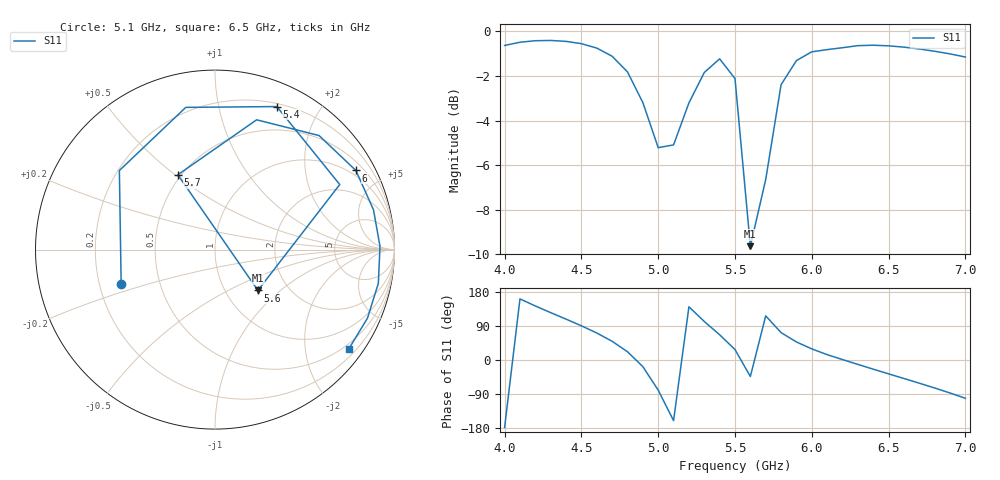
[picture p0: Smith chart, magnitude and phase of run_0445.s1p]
! Touchstone file exported from HFSS 2024.2.0
!  File:  C:/Users/wsak9/Desktop/Sim Fast/Widenad Patch/WP_AI_V1_sweep.aedt
!  Generated:  10:21:25 AM Oct 14, 2026
!  Design:  A1_model
!  Project:  WP_AI_V1_sweep
!  Setup:  Setup1
!  Solution:  Sweep
! Variables:
!  Air_gap = 4.83mm
!  Curve_Amp1 = 3.96
!  Curve_len1 = 1
!  Curve_pos = 10.93mm
!  Extra = 5.39mm
!  H_sub = 0.79mm
!  L_Patch = 17.86mm
!  L_Patch1 = 21.88mm
!  Sx = 2.63mm
!  Sy = 1.39mm
!  WS = 0.81mm
!  W_Patch = 15.89mm
!  W_Patch1 = 16.49mm
!Data is not renormalized
# GHz S MA
! Terminal data exported
! Port[1] = 1
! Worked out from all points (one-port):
!   31 points, 4 GHz to 7 GHz, reference per port
!   lowest |S11| = -9.6 dB at 5.6 GHz (marker M1), VSWR 1.98
!   |S11| at or under -10 dB: nowhere
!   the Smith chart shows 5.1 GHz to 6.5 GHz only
!   S11 on the Smith chart (normalised r, x): 5.1 GHz: 0.29, -0.16; 5.4 GHz: 0.23, +1.50; 5.6 GHz: 1.41, -0.72; 5.7 GHz: 0.48, +0.51; 6 GHz: 0.79, +3.67; 6.5 GHz: 0.37, -2.99
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4  0.9302 -178.0
4.1  0.9458 161.2
4.2  0.9533 142.5
4.3  0.9545 125.0
4.4  0.9501 107.8
4.5  0.9388 90.2
4.6  0.9177 71.3
4.7  0.8799 49.4
4.8  0.8115 21.8
4.9  0.6927 -17.5
5  0.5487 -79.5
5.1  0.5565 -160.0
5.2  0.6914 140.4
5.3  0.809 101.6
5.4  0.8681 66.6
5.5  0.7838 27.5
5.6  0.3298 -43.6
5.7  0.4655 116.4
5.8  0.7595 72.2
5.9  0.8603 47.6
6  0.9002 29.3
6.1  0.9105 14.1
6.2  0.9194 1.1
6.3  0.9293 -11.7
6.5  0.9284 -36.6
6.7  0.9134 -61.2
6.9  0.8905 -87.1
7  0.8763 -101.0
